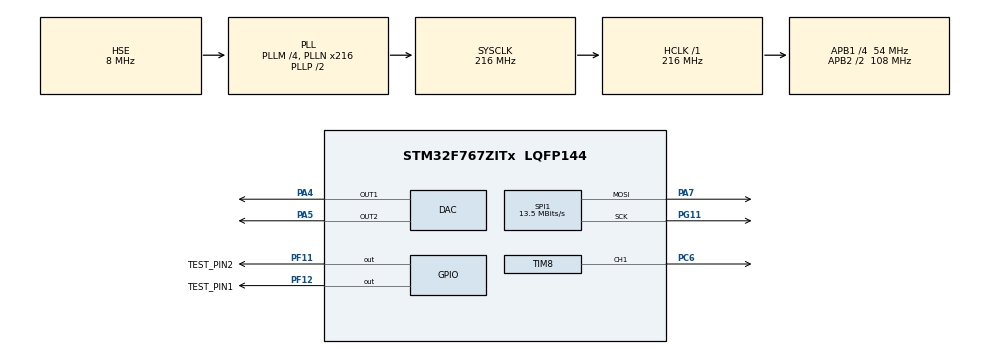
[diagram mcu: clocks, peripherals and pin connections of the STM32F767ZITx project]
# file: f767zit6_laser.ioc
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DAC.DAC_Trigger=DAC_TRIGGER_T8_TRGO
DAC.DAC_Trigger2=DAC_TRIGGER_T8_TRGO
Dma.DAC1.0.Direction=DMA_MEMORY_TO_PERIPH
Dma.DAC1.0.FIFOMode=DMA_FIFOMODE_DISABLE
Dma.DAC1.0.Instance=DMA1_Stream5
Dma.DAC1.0.MemDataAlignment=DMA_MDATAALIGN_HALFWORD
Dma.DAC1.0.MemInc=DMA_MINC_ENABLE
Dma.DAC1.0.Mode=DMA_CIRCULAR
Dma.DAC1.0.PeriphDataAlignment=DMA_PDATAALIGN_HALFWORD
Dma.DAC1.0.PeriphInc=DMA_PINC_DISABLE
Dma.DAC1.0.Priority=DMA_PRIORITY_HIGH
Dma.DAC2.1.Direction=DMA_MEMORY_TO_PERIPH
Dma.DAC2.1.FIFOMode=DMA_FIFOMODE_DISABLE
Dma.DAC2.1.Instance=DMA1_Stream6
Dma.DAC2.1.MemDataAlignment=DMA_MDATAALIGN_HALFWORD
Dma.DAC2.1.MemInc=DMA_MINC_ENABLE
Dma.DAC2.1.Mode=DMA_CIRCULAR
Dma.DAC2.1.PeriphDataAlignment=DMA_PDATAALIGN_HALFWORD
Dma.DAC2.1.PeriphInc=DMA_PINC_DISABLE
Dma.DAC2.1.Priority=DMA_PRIORITY_HIGH
Dma.Request0=DAC1
Dma.Request1=DAC2
Mcu.Family=STM32F7
Mcu.Name=STM32F767ZITx
Mcu.Package=LQFP144
NVIC.DMA1_Stream5_IRQn=true\:0\:0\:false\:false\:true\:false\:true
NVIC.DMA1_Stream6_IRQn=true\:0\:0\:false\:false\:true\:false\:true
NVIC.PriorityGroup=NVIC_PRIORITYGROUP_4
NVIC.TIM8_CC_IRQn=true\:0\:0\:false\:false\:true\:true\:true
PA4.Signal=COMP_DAC1_group
PA5.Signal=COMP_DAC2_group
PA7.Mode=TX_Only_Simplex_Unidirect_Master
PA7.Signal=SPI1_MOSI
PC6.Signal=S_TIM8_CH1
PF11.GPIO_Label=TEST_PIN2
PF11.Signal=GPIO_Output
PF12.GPIO_Label=TEST_PIN1
PF12.Signal=GPIO_Output
PG11.Mode=TX_Only_Simplex_Unidirect_Master
PG11.Signal=SPI1_SCK
PH0/OSC_IN.Mode=HSE-External-Clock-Source
PH0/OSC_IN.Signal=RCC_OSC_IN
PH1/OSC_OUT.Mode=HSE-External-Clock-Source
PH1/OSC_OUT.Signal=RCC_OSC_OUT
ProjectManager.HeapSize=0x200
ProjectManager.StackSize=0x400
ProjectManager.TargetToolchain=Makefile
RCC.AHBFreq_Value=216000000
RCC.APB1CLKDivider=RCC_HCLK_DIV4
RCC.APB1Freq_Value=54000000
RCC.APB1TimFreq_Value=108000000
RCC.APB2CLKDivider=RCC_HCLK_DIV2
RCC.APB2Freq_Value=108000000
RCC.APB2TimFreq_Value=216000000
RCC.CortexFreq_Value=216000000
RCC.HCLKFreq_Value=216000000
RCC.HSE_VALUE=8000000
RCC.HSI_VALUE=16000000
RCC.LSE_VALUE=32768
RCC.PLLM=4
RCC.PLLN=216
RCC.PLLSourceVirtual=RCC_PLLSOURCE_HSE
RCC.SYSCLKFreq_VALUE=216000000
RCC.SYSCLKSource=RCC_SYSCLKSOURCE_PLLCLK
RCC.USBFreq_Value=216000000
RCC.VCOOutputFreq_Value=432000000
SH.COMP_DAC1_group.0=DAC_OUT1,DAC_OUT1
SH.COMP_DAC2_group.0=DAC_OUT2,DAC_OUT2
SH.S_TIM8_CH1.0=TIM8_CH1,Output Compare1 CH1
SPI1.BaudRatePrescaler=SPI_BAUDRATEPRESCALER_8
SPI1.CalculateBaudRate=13.5 MBits/s
SPI1.DataSize=SPI_DATASIZE_16BIT
SPI1.Direction=SPI_DIRECTION_2LINES
SPI1.Mode=SPI_MODE_MASTER
SPI1.VirtualType=VM_MASTER
TIM8.Channel-Output\ Compare1\ CH1=TIM_CHANNEL_1
TIM8.Channel-Output\ Compare2\ No\ Output=TIM_CHANNEL_2
TIM8.Channel-Output\ Compare3\ No\ Output=TIM_CHANNEL_3
TIM8.Channel-Output\ Compare4\ No\ Output=TIM_CHANNEL_4
TIM8.OCMode_1=TIM_OCMODE_TOGGLE
TIM8.OCMode_2=TIM_OCMODE_TOGGLE
TIM8.OCMode_3=TIM_OCMODE_TOGGLE
TIM8.OCMode_4=TIM_OCMODE_TOGGLE
TIM8.Period=2700-1
TIM8.Prescaler=1
TIM8.Pulse-Output\ Compare1\ CH1=0
TIM8.Pulse-Output\ Compare2\ No\ Output=300
TIM8.Pulse-Output\ Compare3\ No\ Output=600
TIM8.Pulse-Output\ Compare4\ No\ Output=900
TIM8.TIM_MasterOutputTrigger=TIM_TRGO_OC1REF
TIM8.TIM_MasterOutputTrigger2=TIM_TRGO2_OC1REF
VP_TIM8_VS_ClockSourceINT.Mode=Internal
VP_TIM8_VS_no_output2.Mode=Output Compare2 No Output
VP_TIM8_VS_no_output3.Mode=Output Compare3 No Output
VP_TIM8_VS_no_output4.Mode=Output Compare4 No Output
board=custom

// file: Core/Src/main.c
/* USER CODE BEGIN Header */
/**
  ******************************************************************************
  * @file           : main.c
  * @brief          : Main program body
  ******************************************************************************
  * @attention
  *
  * <h2><center>&copy; Copyright (c) 2022 STMicroelectronics.
  * All rights reserved.</center></h2>
  *
  * This software component is licensed by ST under BSD 3-Clause license,
  * the "License"; You may not use this file except in compliance with the
  * License. You may obtain a copy of the License at:
  *                        opensource.org/licenses/BSD-3-Clause
  *
  ******************************************************************************
  */
/* USER CODE END Header */
#include "main.h"
#include "dac.h"
#include "dma.h"
#include "spi.h"
#include "tim.h"
#include "gpio.h"

/* USER CODE BEGIN Includes */
#include "global_defines.h"
#include "laser/laser_irq.h"
#include "laser/laser_frame_processor.h"
#include "laser/laser_font.h"
/* USER CODE END Includes */

void SystemClock_Config(void);
/* USER CODE BEGIN PFP */

static uint16_t spi_data = 0xFF02u;
static uint16_t DAC1_data = 0;
static uint16_t DAC2_data = 0;
static uint16_t laser_r_data = 0;
static uint16_t laser_g_data = 0;
static uint16_t laser_b_data = 0;

/* USER CODE END PFP */

/* USER CODE BEGIN 0 */
int main(void)
{
  HAL_Init();

  SystemClock_Config();

  MX_GPIO_Init();
  MX_DMA_Init();
  MX_DAC_Init();
  MX_TIM8_Init();
  MX_SPI1_Init();
  __HAL_SPI_ENABLE(&hspi1);

/* TEMP BEGIN */
  err_t status;

  status = laser_font_print_text("DUPA", -20000, -20000, 2, 255,255,255);
  if(ERR_OK == status)
  {
    (void)laser_frame_processor_enqueue();
  }
/* TEMP END */

  HAL_DAC_Start_DMA(&hdac, DAC_CHANNEL_2, (uint32_t*)&DAC1_data, 1u, DAC_ALIGN_12B_L);
  HAL_DAC_Start_DMA(&hdac, DAC_CHANNEL_1, (uint32_t*)&DAC2_data, 1u, DAC_ALIGN_12B_L);

  HAL_TIM_OC_Start_IT(&htim8, TIM_CHANNEL_1);
  HAL_TIM_OC_Start_IT(&htim8, TIM_CHANNEL_2);
  HAL_TIM_OC_Start_IT(&htim8, TIM_CHANNEL_3);
  HAL_TIM_OC_Start_IT(&htim8, TIM_CHANNEL_4);

  HAL_TIM_Base_Start(&htim8);

  while(1)
  {

  }
}
/* USER CODE END 0 */

void SystemClock_Config(void)
{
  RCC_OscInitTypeDef RCC_OscInitStruct = {0};
  RCC_ClkInitTypeDef RCC_ClkInitStruct = {0};

  /** Configure the main internal regulator output voltage
  */
  __HAL_RCC_PWR_CLK_ENABLE();
  __HAL_PWR_VOLTAGESCALING_CONFIG(PWR_REGULATOR_VOLTAGE_SCALE1);
  /** Initializes the RCC Oscillators according to the specified parameters
  * in the RCC_OscInitTypeDef structure.
  */
  RCC_OscInitStruct.OscillatorType = RCC_OSCILLATORTYPE_HSE;
  RCC_OscInitStruct.HSEState = RCC_HSE_BYPASS;
  RCC_OscInitStruct.PLL.PLLState = RCC_PLL_ON;
  RCC_OscInitStruct.PLL.PLLSource = RCC_PLLSOURCE_HSE;
  RCC_OscInitStruct.PLL.PLLM = 4;
  RCC_OscInitStruct.PLL.PLLN = 216;
  RCC_OscInitStruct.PLL.PLLP = RCC_PLLP_DIV2;
  RCC_OscInitStruct.PLL.PLLQ = 2;
  RCC_OscInitStruct.PLL.PLLR = 2;
  if (HAL_RCC_OscConfig(&RCC_OscInitStruct) != HAL_OK)
  {
    Error_Handler();
  }
  /** Activate the Over-Drive mode
  */
  if (HAL_PWREx_EnableOverDrive() != HAL_OK)
  {
    Error_Handler();
  }
  /** Initializes the CPU, AHB and APB buses clocks
  */
  RCC_ClkInitStruct.ClockType = RCC_CLOCKTYPE_HCLK|RCC_CLOCKTYPE_SYSCLK
                              |RCC_CLOCKTYPE_PCLK1|RCC_CLOCKTYPE_PCLK2;
  RCC_ClkInitStruct.SYSCLKSource = RCC_SYSCLKSOURCE_PLLCLK;
  RCC_ClkInitStruct.AHBCLKDivider = RCC_SYSCLK_DIV1;
  RCC_ClkInitStruct.APB1CLKDivider = RCC_HCLK_DIV4;
  RCC_ClkInitStruct.APB2CLKDivider = RCC_HCLK_DIV2;

  if (HAL_RCC_ClockConfig(&RCC_ClkInitStruct, FLASH_LATENCY_7) != HAL_OK)
  {
    Error_Handler();
  }
}

/* USER CODE BEGIN 4 */
void HAL_TIM_OC_DelayElapsedCallback(TIM_HandleTypeDef *htim)
{
  if(TIM8 == htim->Instance)
  {
    if(GPIOC->IDR & (1 << 6u))
    {
      if(HAL_TIM_ACTIVE_CHANNEL_1 == htim->Channel)
      {
        laser_point_s *point = laser_irq_get_laser_point();
        if(NULL != point)
        {
          DAC1_data = (uint16_t)((point->x / 16) + 2048);
          DAC2_data = (uint16_t)((point->y / 16) + 2048);
          laser_r_data = point->r;
          laser_g_data = point->g;
          laser_b_data = point->b;
          HAL_GPIO_WritePin(TEST_PIN2_GPIO_Port, TEST_PIN2_Pin, 0);
          HAL_GPIO_WritePin(TEST_PIN2_GPIO_Port, TEST_PIN2_Pin, point->on);
        }
        else
        {
          HAL_GPIO_WritePin(TEST_PIN2_GPIO_Port, TEST_PIN2_Pin, 0u);
        }
      }
    }
    else
    {
      if(HAL_TIM_ACTIVE_CHANNEL_1 == htim->Channel)
      {
        HAL_GPIO_WritePin(TEST_PIN1_GPIO_Port, TEST_PIN1_Pin, 1u);
        hspi1.Instance->DR = spi_data;
      }
      if(HAL_TIM_ACTIVE_CHANNEL_2 == htim->Channel)
      {
        HAL_GPIO_WritePin(TEST_PIN1_GPIO_Port, TEST_PIN1_Pin, 0u);
        HAL_GPIO_WritePin(TEST_PIN1_GPIO_Port, TEST_PIN1_Pin, 1u);
        hspi1.Instance->DR = spi_data;
      }
      else if(HAL_TIM_ACTIVE_CHANNEL_3 == htim->Channel)
      {
        HAL_GPIO_WritePin(TEST_PIN1_GPIO_Port, TEST_PIN1_Pin, 0u);
        HAL_GPIO_WritePin(TEST_PIN1_GPIO_Port, TEST_PIN1_Pin, 1u);
        hspi1.Instance->DR = spi_data;
      }
      else if(HAL_TIM_ACTIVE_CHANNEL_4 == htim->Channel)
      {
        HAL_GPIO_WritePin(TEST_PIN1_GPIO_Port, TEST_PIN1_Pin, 0u);
      }
    }
  }
}
/* USER CODE END 4 */

void Error_Handler(void)
{
  __disable_irq();
  while (1)
  {
  }
}

/************************ (C) COPYRIGHT STMicroelectronics *****END OF FILE****/
